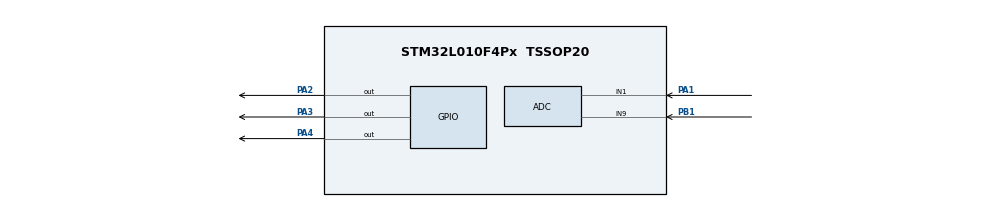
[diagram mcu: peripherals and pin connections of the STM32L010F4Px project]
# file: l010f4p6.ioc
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Mcu.Family=STM32L0
Mcu.Name=STM32L010F4Px
Mcu.Package=TSSOP20
PA0-CK_IN.Mode=SYS_WakeUp0
PA0-CK_IN.Signal=SYS_WKUP1
PA1.Mode=IN1
PA1.Signal=ADC_IN1
PA13.Mode=Serial_Wire
PA13.Signal=SYS_SWDIO
PA14.Mode=Serial_Wire
PA14.Signal=SYS_SWCLK
PA2.Signal=GPIO_Output
PA3.Signal=GPIO_Output
PA4.Signal=GPIO_Output
PA5.Signal=S_TIM2_CH1
PB1.Mode=IN9
PB1.Signal=ADC_IN9
PC14-OSC32_IN.Mode=LSE-External-Oscillator
PC14-OSC32_IN.Signal=RCC_OSC32_IN
PC15-OSC32_OUT.Mode=LSE-External-Oscillator
PC15-OSC32_OUT.Signal=RCC_OSC32_OUT
ProjectManager.HeapSize=0x200
ProjectManager.StackSize=0x400
ProjectManager.TargetToolchain=CMake
RCC.AHBFreq_Value=2097000
RCC.APB1Freq_Value=2097000
RCC.APB1TimFreq_Value=2097000
RCC.APB2Freq_Value=2097000
RCC.APB2TimFreq_Value=2097000
RCC.HCLKFreq_Value=2097000
RCC.HSE_VALUE=8000000
RCC.HSI16_VALUE=16000000
RCC.HSI_VALUE=16000000
RCC.MSI_VALUE=2097000
RCC.SYSCLKFreq_VALUE=2097000
RCC.VCOOutputFreq_Value=48000000
SH.S_TIM2_CH1.0=TIM2_CH1
board=custom

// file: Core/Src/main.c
/* USER CODE BEGIN Header */
/**
  ******************************************************************************
  * @file           : main.c
  * @brief          : Main program body
  ******************************************************************************
  * @attention
  *
  * Copyright (c) 2026 STMicroelectronics.
  * All rights reserved.
  *
  * This software is licensed under terms that can be found in the LICENSE file
  * in the root directory of this software component.
  * If no LICENSE file comes with this software, it is provided AS-IS.
  *
  ******************************************************************************
  */
/* USER CODE END Header */
#include "main.h"

/* USER CODE BEGIN Includes */
#include "alarm_manager.h"
#include "board.h"
#include "display_renderer.h"
#include "environment_manager.h"
#include "oled_128x32.h"
#include "ui_controller.h"

/* USER CODE END Includes */

/* USER CODE BEGIN PD */
#define MAIN_LOOP_DELAY_MS 20U
#define IDLE_LOOP_DELAY_MS 100U
#define APP_SLEEP_TIMEBASE_HZ 32768U
#define APP_SLEEP_TIMER_SYNC_TIMEOUT 10000U
#define RTC_REFRESH_INTERVAL_MS 1000U
#define BLINK_INTERVAL_MS 800U
#define MAIN_POWER_STANDBY_ENABLED 1U
#define IDLE_AUTO_MODE_TIME_SEEN 0x01U
#define IDLE_AUTO_MODE_DATE_SEEN 0x02U
#define IDLE_AUTO_MODE_ENVIRONMENT_SEEN 0x04U
#define IDLE_AUTO_MODE_ALL_SEEN \
  (IDLE_AUTO_MODE_TIME_SEEN | IDLE_AUTO_MODE_DATE_SEEN | \
   IDLE_AUTO_MODE_ENVIRONMENT_SEEN)
#define LOW_BATTERY_BLINK_INTERVAL_MS 1000U
#define APP_MSI_ACTIVE_RANGE RCC_ICSCR_MSIRANGE_6
#define APP_MSI_ACTIVE_HZ 4194304UL
#define APP_MSI_IDLE_RANGE RCC_ICSCR_MSIRANGE_5
#define APP_MSI_IDLE_HZ 2097152UL

/* USER CODE END PD */

/* USER CODE BEGIN PV */
RTC_HandleTypeDef hrtc;
static uint32_t appLastLoopTick = 0U;
static uint32_t appLoopIntervalMs = MAIN_LOOP_DELAY_MS;

/* USER CODE END PV */

void SystemClock_Config(void);
static void MX_GPIO_Init(void);
static void MX_ADC_Init(void);
/* USER CODE BEGIN PFP */
static uint8_t App_RTC_Init(void);
static uint8_t App_Tick(void);
static void App_SetMsiClock(uint32_t msiRange, uint32_t coreClockHz);
static void App_SleepUntilNextTick(void);

/* USER CODE END PFP */

int main(void)
{

  /* MCU Configuration--------------------------------------------------------*/

  /* Reset of all peripherals, Initializes the Flash interface and the Systick. */
  if (HAL_InitTick(TICK_INT_PRIORITY) != HAL_OK)
  {
    Error_Handler();
  }
  HAL_MspInit();

  /* Configure the system clock */
  SystemClock_Config();

  /* Initialize all configured peripherals */
  MX_GPIO_Init();
  MX_ADC_Init();
  /* USER CODE BEGIN 2 */
  (void)App_RTC_Init();
  Board_Init();
  Oled128x32_Init();

  UiController_Init();
  AlarmManager_Init();
  EnvironmentManager_Init();

  /* USER CODE END 2 */

  /* Infinite loop */
  /* USER CODE BEGIN WHILE */
  while (1)
  {
    (void)App_Tick();
    App_SleepUntilNextTick();

    /* USER CODE END WHILE */

  }
}

void SystemClock_Config(void)
{
  /** Configure the main internal regulator output voltage
  */
  __HAL_PWR_VOLTAGESCALING_CONFIG(PWR_REGULATOR_VOLTAGE_SCALE1);

  RCC->CFGR &= ~(RCC_CFGR_SW | RCC_CFGR_HPRE | RCC_CFGR_PPRE1 |
                 RCC_CFGR_PPRE2);
  App_SetMsiClock(APP_MSI_ACTIVE_RANGE, APP_MSI_ACTIVE_HZ);
}

static void MX_ADC_Init(void)
{
  GPIO_InitTypeDef GPIO_InitStruct = {0};

  __HAL_RCC_ADC1_CLK_ENABLE();
  __HAL_RCC_GPIOA_CLK_ENABLE();
  __HAL_RCC_GPIOB_CLK_ENABLE();

  GPIO_InitStruct.Pin = GPIO_PIN_1;
  GPIO_InitStruct.Mode = GPIO_MODE_ANALOG;
  GPIO_InitStruct.Pull = GPIO_NOPULL;
  HAL_GPIO_Init(GPIOA, &GPIO_InitStruct);
  HAL_GPIO_Init(GPIOB, &GPIO_InitStruct);

  ADC1_COMMON->CCR = (ADC1_COMMON->CCR & ~(ADC_CCR_PRESC | ADC_CCR_LFMEN)) |
                     ADC_CCR_LFMEN;
  ADC1->CR |= ADC_CR_ADVREGEN;
  ADC1->CFGR1 = 0U;
  ADC1->CFGR2 = ADC_CFGR2_CKMODE;
  ADC1->SMPR = ADC_SMPR_SMPR;
  ADC1->CHSELR = ADC_CHSELR_CHSEL1 | ADC_CHSELR_CHSEL9;

}

static void MX_GPIO_Init(void)
{
  GPIO_InitTypeDef GPIO_InitStruct = {0};

  /* GPIO Ports Clock Enable */
  __HAL_RCC_GPIOC_CLK_ENABLE();
  __HAL_RCC_GPIOA_CLK_ENABLE();
  __HAL_RCC_GPIOB_CLK_ENABLE();

  /*Configure GPIO pin Output Level */
  HAL_GPIO_WritePin(GPIOA, GPIO_PIN_2|GPIO_PIN_3|GPIO_PIN_4, GPIO_PIN_RESET);

  /*Configure GPIO pins : PA2 PA3 PA4 */
  GPIO_InitStruct.Pin = GPIO_PIN_2|GPIO_PIN_3|GPIO_PIN_4;
  GPIO_InitStruct.Mode = GPIO_MODE_OUTPUT_PP;
  GPIO_InitStruct.Pull = GPIO_NOPULL;
  GPIO_InitStruct.Speed = GPIO_SPEED_FREQ_LOW;
  HAL_GPIO_Init(GPIOA, &GPIO_InitStruct);

  /*Configure GPIO pin : PA5 */
  GPIO_InitStruct.Pin = GPIO_PIN_5;
  GPIO_InitStruct.Mode = GPIO_MODE_AF_PP;
  GPIO_InitStruct.Pull = GPIO_NOPULL;
  GPIO_InitStruct.Speed = GPIO_SPEED_FREQ_LOW;
  GPIO_InitStruct.Alternate = GPIO_AF5_TIM2;
  HAL_GPIO_Init(GPIOA, &GPIO_InitStruct);

}

/* USER CODE BEGIN 4 */
HAL_StatusTypeDef HAL_InitTick(uint32_t TickPriority)
{
  if (TickPriority < (1UL << __NVIC_PRIO_BITS)) {
    uwTickPrio = TickPriority;
  }

  SysTick->LOAD = (SystemCoreClock / 1000U) - 1UL;
  SysTick->VAL = 0UL;
  SysTick->CTRL = SysTick_CTRL_CLKSOURCE_Msk | SysTick_CTRL_TICKINT_Msk |
                  SysTick_CTRL_ENABLE_Msk;
  return HAL_OK;
}

static void App_SetMsiClock(uint32_t msiRange, uint32_t coreClockHz)
{
  RCC->CR |= RCC_CR_MSION;
  while ((RCC->CR & RCC_CR_MSIRDY) == 0U) {
  }

  RCC->ICSCR = (RCC->ICSCR & ~RCC_ICSCR_MSIRANGE) | msiRange;
  while ((RCC->CR & RCC_CR_MSIRDY) == 0U) {
  }

  SystemCoreClock = coreClockHz;
  if (HAL_InitTick(TICK_INT_PRIORITY) != HAL_OK) {
    Error_Handler();
  }
}

static uint8_t App_RTC_Init(void)
{
  RCC_OscInitTypeDef RCC_OscInitStruct = {0};

  HAL_PWR_EnableBkUpAccess();

  if (__HAL_RCC_GET_RTC_SOURCE() != RCC_RTCCLKSOURCE_LSE) {
    __HAL_RCC_BACKUPRESET_FORCE();
    __HAL_RCC_BACKUPRESET_RELEASE();
  }

  __HAL_RCC_LSEDRIVE_CONFIG(RCC_LSEDRIVE_HIGH);

  RCC_OscInitStruct.OscillatorType = RCC_OSCILLATORTYPE_LSE;
  RCC_OscInitStruct.LSEState = RCC_LSE_ON;
  if (HAL_RCC_OscConfig(&RCC_OscInitStruct) != HAL_OK)
  {
    return 0U;
  }

  if (__HAL_RCC_GET_FLAG(RCC_FLAG_LSERDY) == RESET) {
    return 0U;
  }

  __HAL_RCC_RTC_CONFIG(RCC_RTCCLKSOURCE_LSE);
  __HAL_RCC_RTC_ENABLE();

  hrtc.Instance = RTC;
  hrtc.Init.HourFormat = RTC_HOURFORMAT_24;
  hrtc.Init.AsynchPrediv = 127;
  hrtc.Init.SynchPrediv = 255;
  hrtc.Init.OutPut = RTC_OUTPUT_DISABLE;
  hrtc.Init.OutPutPolarity = RTC_OUTPUT_POLARITY_HIGH;
  hrtc.Init.OutPutType = RTC_OUTPUT_TYPE_OPENDRAIN;
  if (HAL_RTC_Init(&hrtc) != HAL_OK)
  {
    return 0U;
  }

  return 1U;
}

static void App_SleepUntilNextTick(void)
{
  static uint32_t sleepFraction = 0U;
  uint32_t elapsedMs = HAL_GetTick() - appLastLoopTick;
  uint32_t timerPeriod;
  uint32_t elapsedTimerTicks;
  uint32_t previousCounter;
  uint32_t elapsedUnits;
  uint32_t systickControl;
  uint32_t syncTimeout = APP_SLEEP_TIMER_SYNC_TIMEOUT;

  if (elapsedMs >= appLoopIntervalMs) {
    return;
  }
  if (__HAL_RCC_GET_FLAG(RCC_FLAG_LSERDY) == RESET) {
    /* Keep the 1 ms HAL tick as a safe wake source if the RTC crystal fails. */
    SCB->SCR &= ~(SCB_SCR_SLEEPDEEP_Msk | SCB_SCR_SLEEPONEXIT_Msk);
    __DSB();
    __WFI();
    return;
  }

  __HAL_RCC_LPTIM1_CLK_ENABLE();
  __HAL_RCC_LPTIM1_CLK_SLEEP_ENABLE();
  __HAL_RCC_LPTIM1_CONFIG(RCC_LPTIM1CLKSOURCE_LSE);

  /* WFI also returns for an already pending enabled IRQ with PRIMASK set.
     Keep handlers masked until elapsed time and SysTick have been restored. */
  __disable_irq();
  systickControl = SysTick->CTRL;
  if ((SCB->ICSR & SCB_ICSR_PENDSTSET_Msk) != 0U) {
    SCB->ICSR = SCB_ICSR_PENDSTCLR_Msk;
    HAL_IncTick();
  }

  elapsedMs = HAL_GetTick() - appLastLoopTick;
  if (elapsedMs < appLoopIntervalMs) {
    timerPeriod = (((appLoopIntervalMs - elapsedMs) * APP_SLEEP_TIMEBASE_HZ) +
                   999U) / 1000U;
    __HAL_RCC_LPTIM1_FORCE_RESET();
    __HAL_RCC_LPTIM1_RELEASE_RESET();
    LPTIM1->CFGR = 0U;
    /* IER may only be changed while the peripheral is disabled (RM0451). */
    LPTIM1->IER = LPTIM_IER_ARRMIE;
    LPTIM1->CR = LPTIM_CR_ENABLE;
    LPTIM1->ARR = timerPeriod - 1U;
    while (((LPTIM1->ISR & LPTIM_ISR_ARROK) == 0U) && (syncTimeout != 0U)) {
      --syncTimeout;
    }
    if (syncTimeout != 0U) {
      /* Count the timer's asynchronous setup time with the normal SysTick.
         Stop it only after ARR has reached the LSE clock domain. */
      SysTick->CTRL = systickControl &
                      ~(SysTick_CTRL_ENABLE_Msk | SysTick_CTRL_TICKINT_Msk);
      if ((SCB->ICSR & SCB_ICSR_PENDSTSET_Msk) != 0U) {
        SCB->ICSR = SCB_ICSR_PENDSTCLR_Msk;
        HAL_IncTick();
      }
      NVIC_ClearPendingIRQ(LPTIM1_IRQn);
      NVIC_EnableIRQ(LPTIM1_IRQn);
      SCB->SCR &= ~(SCB_SCR_SLEEPDEEP_Msk | SCB_SCR_SLEEPONEXIT_Msk |
                    SCB_SCR_SEVONPEND_Msk);
      LPTIM1->CR = LPTIM_CR_ENABLE | LPTIM_CR_SNGSTRT;
      __DSB();
      __WFI();

      /* The asynchronous counter must be read twice with matching values. */
      do {
        previousCounter = LPTIM1->CNT;
        elapsedTimerTicks = LPTIM1->CNT;
      } while (elapsedTimerTicks != previousCounter);
      if ((LPTIM1->ISR & LPTIM_ISR_ARRM) != 0U) {
        elapsedTimerTicks = timerPeriod;
      }
      elapsedUnits = sleepFraction + elapsedTimerTicks * 1000U;
      uwTick += elapsedUnits / APP_SLEEP_TIMEBASE_HZ;
      sleepFraction = elapsedUnits % APP_SLEEP_TIMEBASE_HZ;
    }
    /* Reset clears the source without an ICR write outside its IRQ handler
       (STM32L010 errata ES0483, LPTIM interrupt clearing limitation). */
    __HAL_RCC_LPTIM1_FORCE_RESET();
    __HAL_RCC_LPTIM1_RELEASE_RESET();
    NVIC_ClearPendingIRQ(LPTIM1_IRQn);
    NVIC_DisableIRQ(LPTIM1_IRQn);
    __DSB();
  }
  __HAL_RCC_LPTIM1_CLK_DISABLE();
  /* Preserve the SysTick counter phase and fractional sleep milliseconds. */
  SysTick->CTRL = systickControl;
  __enable_irq();
}

static uint8_t App_Tick(void)
{
  static uint32_t lastRtcRefreshTick = 0U;
  static uint32_t lastBlinkTick = 0U;
  static DisplayMode_t lastIdleDisplayMode = DISPLAY_TIME;
  static uint8_t oledAlarmShown = 0U;
  static uint8_t blinkOn = 1U;
  static uint8_t idlePeripheralsOff = 0U;
  static uint8_t idleAutoModeSeenMask = 0U;
  static uint8_t lowBatteryMode = 0U;
  static uint8_t alarmButtonReleasePending = 0U;
  uint32_t now = HAL_GetTick();
  ClockButton_t button = CLOCK_BUTTON_NONE;
  ClockDisplay_t display = {0U, 0U};
  DisplayMode_t displayMode = DISPLAY_TIME;
  uint16_t batteryPercentTenths = 0U;
  uint8_t alarmAnyEnabled = 0U;
  uint8_t userActivity = 0U;
  uint8_t buttonActivity = 0U;

  if ((now - appLastLoopTick) < appLoopIntervalMs) {
    return 0U;
  }
  appLastLoopTick = now;
  appLoopIntervalMs = MAIN_LOOP_DELAY_MS;

#if MAIN_POWER_STANDBY_ENABLED
  if (Board_IsWakePowerPresent() == 0U) {
    Board_EnterStandby();
    return 1U;
  }
#endif

  if ((now - lastRtcRefreshTick) >= RTC_REFRESH_INTERVAL_MS) {
    UiController_RefreshDateTime();
    lastRtcRefreshTick = now;
  }

  AlarmManager_UpdateTrigger(UiController_DateTime());

  button = Board_ReadButton();
  buttonActivity = (button != CLOCK_BUTTON_NONE) ? 1U : 0U;
  if (buttonActivity == 0U) {
    alarmButtonReleasePending = 0U;
  } else if (AlarmManager_IsBuzzerActive() != 0U) {
    AlarmManager_StopBuzzer();
    alarmButtonReleasePending = 1U;
    button = CLOCK_BUTTON_NONE;
  } else if (alarmButtonReleasePending != 0U) {
    button = CLOCK_BUTTON_NONE;
  }
  UiController_UpdateButton(button, now);

  if (Board_IsBatteryAboveLowThreshold() == 0U) {
    if (lowBatteryMode == 0U) {
      Board_PowerDownIdleDevices();
      lowBatteryMode = 1U;
      blinkOn = 0U;
      lastBlinkTick = now;
    }
    AlarmManager_UpdateBuzzer();
    if ((now - lastBlinkTick) >= LOW_BATTERY_BLINK_INTERVAL_MS) {
      blinkOn = (blinkOn == 0U) ? 1U : 0U;
      lastBlinkTick = now;
      Board_WriteDisplay(
          (ClockDisplay_t){0U, (uint8_t)(blinkOn << CLOCK_BOARD2_ALARM_BIT)});
    }
    return 1U;
  }

  if ((now - lastBlinkTick) >= BLINK_INTERVAL_MS) {
    blinkOn = (blinkOn == 0U) ? 1U : 0U;
    lastBlinkTick = now;
  }

  displayMode = UiController_DisplayMode();

  if (lowBatteryMode != 0U) {
    lowBatteryMode = 0U;
    App_SetMsiClock(APP_MSI_ACTIVE_RANGE, APP_MSI_ACTIVE_HZ);
    idlePeripheralsOff = 0U;
    idleAutoModeSeenMask = 0U;
    oledAlarmShown = 0U;
    UiController_ShowTimeMode();
    lastIdleDisplayMode = UiController_DisplayMode();
  }

  userActivity = ((HAL_GPIO_ReadPin(GPIOA, GPIO_PIN_7) == GPIO_PIN_SET) ||
                  (buttonActivity != 0U) ||
                  (UiController_EditTarget() != EDIT_NONE) ||
                  (AlarmManager_IsBuzzerActive() != 0U))
                     ? 1U
                     : 0U;

  if (userActivity != 0U) {
    idleAutoModeSeenMask = 0U;
    lastIdleDisplayMode = displayMode;
    if (idlePeripheralsOff != 0U) {
      App_SetMsiClock(APP_MSI_ACTIVE_RANGE, APP_MSI_ACTIVE_HZ);
      UiController_ShowTimeMode();
      lastIdleDisplayMode = UiController_DisplayMode();
      idlePeripheralsOff = 0U;
      oledAlarmShown = 0U;
    }
  } else if (idlePeripheralsOff != 0U) {
    appLoopIntervalMs = IDLE_LOOP_DELAY_MS;
    return 1U;
  }

  batteryPercentTenths = Board_ReadBatteryPercentTenths();
  UiController_UpdateAutoModeCycle();
  displayMode = UiController_DisplayMode();
  EnvironmentManager_Update();

  AlarmManager_UpdateBuzzer();
  alarmAnyEnabled = AlarmManager_AnyEnabled();
  Board_SetBrightness(Board_ReadBrightness());
  display = DisplayRenderer_Build(
      displayMode, UiController_EditTarget(),
      UiController_DateTime(), EnvironmentManager_Current(),
      AlarmManager_Slots(), AlarmManager_SlotCount(),
      AlarmManager_SelectedSlot(), batteryPercentTenths, alarmAnyEnabled,
      UiController_AlarmErrorActive(), blinkOn);
  Board_WriteDisplay(display);

  if (AlarmManager_IsBuzzerActive() != 0U) {
    if (oledAlarmShown == 0U) {
      Oled128x32_ShowAlarm(AlarmManager_ActiveSlot());
      oledAlarmShown = 1U;
    }
  } else {
    oledAlarmShown = 0U;
    Oled128x32_Render(now, displayMode, UiController_DateTime(),
                    EnvironmentManager_Current(), AlarmManager_Slots(),
                    AlarmManager_SlotCount(), AlarmManager_SelectedSlot(),
                    UiController_EditTarget(), batteryPercentTenths,
                    alarmAnyEnabled);
  }

  if (userActivity == 0U) {
    if (displayMode != lastIdleDisplayMode) {
      if (lastIdleDisplayMode == DISPLAY_TIME) {
        idleAutoModeSeenMask |= IDLE_AUTO_MODE_TIME_SEEN;
      } else if (lastIdleDisplayMode == DISPLAY_DATE) {
        idleAutoModeSeenMask |= IDLE_AUTO_MODE_DATE_SEEN;
      } else if (lastIdleDisplayMode == DISPLAY_ENVIRONMENT) {
        idleAutoModeSeenMask |= IDLE_AUTO_MODE_ENVIRONMENT_SEEN;
      } else {
        idleAutoModeSeenMask = 0U;
      }
      lastIdleDisplayMode = displayMode;
    }

    if ((idleAutoModeSeenMask & IDLE_AUTO_MODE_ALL_SEEN) ==
        IDLE_AUTO_MODE_ALL_SEEN) {
      Board_PowerDownIdleDevices();
      App_SetMsiClock(APP_MSI_IDLE_RANGE, APP_MSI_IDLE_HZ);
      idlePeripheralsOff = 1U;
      appLoopIntervalMs = IDLE_LOOP_DELAY_MS;
      return 1U;
    }
  }

  return 1U;
}

/* USER CODE END 4 */

void Error_Handler(void)
{
  __disable_irq();
  while (1)
  {
  }
}
